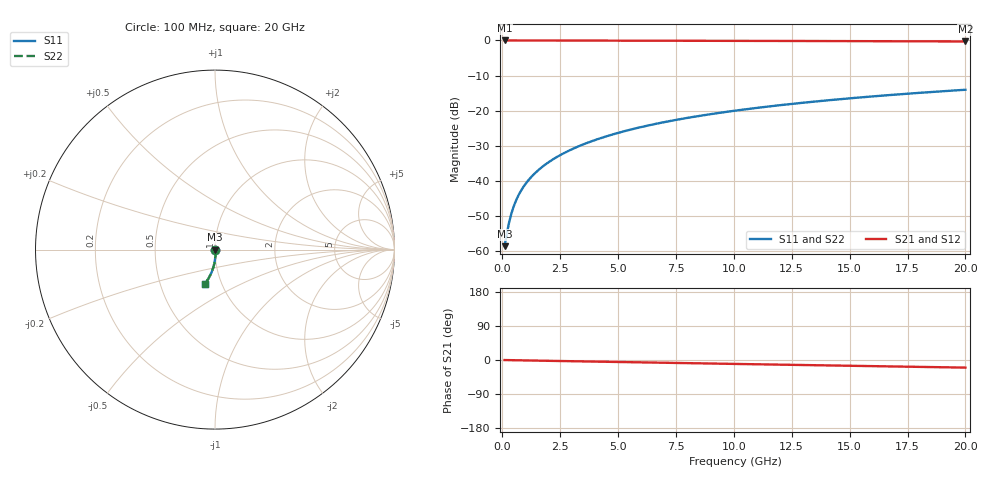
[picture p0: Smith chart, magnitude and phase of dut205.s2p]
! Touchstone file exported from HFSS 2026.1.0
!  File:  C:/ffzhzh/LocalFiles/Ansys_Project_Files/temp_train_TMRDL_205_1782984046_42984.aedt
!  Generated:  05:21:51 PM Jul  2, 2026
!  Design:  TMRDL
!  Project:  temp_train_TMRDL_205_1782984046_42984
! Variables:
!  h_bsmrdl = 2um
!  h_ox = 20um
!  h_rdl = 5um
!  h_sub = 80um
!  h_tmrdl = 5.88um
!  h_tsv = 80um
!  h_via = 3um
!  l_bsmrdl = 300um
!  l_sub = 683.49um
!  l_tmrdl = 283.49um
!  m_sub = 200um
!  pitch = 22.26um
!  r_tsv = 6um
!  s_tmrdl = 10um
!  w_bsmrdl = 18um
!  w_sub = 500um
!  w_tmrdl = 20.94um
!  x_tsv_center1 = 293.96um
!  x_tsv_center2 = 611.96um
!  x_tsv_center3 = 916.39um
!  x_tsv_center4 = 1234.39um
!  x_tsv_center5 = 1538.82um
!  x_tsv_center6 = 1856.82um
# GHz S MA R 50.000000
! Terminal data exported
! Port[1] = TM_RDL1_1_T1
! Port[2] = TM_RDL1_1_T2
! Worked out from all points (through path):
!   200 points, 100 MHz to 20 GHz, reference 50 ohm
!   highest |S21| = -0.01 dB at 100 MHz (marker M1); lowest = -0.3 dB at 20 GHz (marker M2)
!   group delay of S21, straight-line fit = 2.78 ps
!   lowest |S11| = -58.5 dB at 100 MHz (marker M3), VSWR 1.00, Z = 50.1 - j0.057 ohm
!   |S11| at or under -10 dB: start of sweep to end of sweep
!   |S22| runs from -58.5 to -14.0 dB; largest |S21 - S12| = 3.1e-15
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0.1  0.001184 -28.7  0.999 -0.1  0.999 -0.1  0.001184 -28.7
! Gamma 0 0 0 0
! Port Impedance 50 0 50 0
0.2  0.00182 -45.4  0.9987 -0.2  0.9987 -0.2  0.00182 -45.4
0.3  0.002633 -55.2  0.9985 -0.4  0.9985 -0.4  0.002633 -55.2
0.4  0.003518 -61.7  0.9983 -0.5  0.9983 -0.5  0.003518 -61.7
0.5  0.00443 -66.3  0.9982 -0.6  0.9982 -0.6  0.00443 -66.3
0.6  0.005353 -69.6  0.9981 -0.7  0.9981 -0.7  0.005353 -69.6
0.7  0.006281 -72.1  0.998 -0.8  0.998 -0.8  0.00628 -72.1
0.8  0.00721 -74.1  0.9979 -0.9  0.9979 -0.9  0.00721 -74.1
1  0.009073 -77.0  0.9977 -1.1  0.9977 -1.1  0.009073 -77.0
1.4  0.01282 -80.3  0.9974 -1.5  0.9974 -1.5  0.01282 -80.3
1.7  0.01566 -81.9  0.9972 -1.8  0.9972 -1.8  0.01566 -81.9
2  0.01852 -83.0  0.9969 -2.2  0.9969 -2.2  0.01852 -83.0
2.7  0.0253 -84.9  0.9961 -2.9  0.9961 -2.9  0.0253 -84.9
3.5  0.03322 -86.4  0.9952 -3.7  0.9952 -3.7  0.03322 -86.4
4.2  0.04026 -87.5  0.9943 -4.5  0.9943 -4.5  0.04026 -87.5
5  0.04839 -88.7  0.9933 -5.3  0.9933 -5.3  0.04839 -88.7
6.8  0.06684 -91.3  0.991 -7.1  0.991 -7.1  0.06684 -91.3
8.3  0.08225 -93.2  0.9889 -8.6  0.9889 -8.6  0.08225 -93.3
10.1  0.1007 -95.5  0.9862 -10.4  0.9862 -10.4  0.1007 -95.5
13.4  0.1341 -99.3  0.9806 -13.7  0.9806 -13.7  0.1341 -99.3
16.7  0.1668 -102.9  0.974 -16.9  0.974 -16.9  0.1668 -102.9
20  0.1987 -106.4  0.9666 -20.1  0.9666 -20.1  0.1987 -106.4
